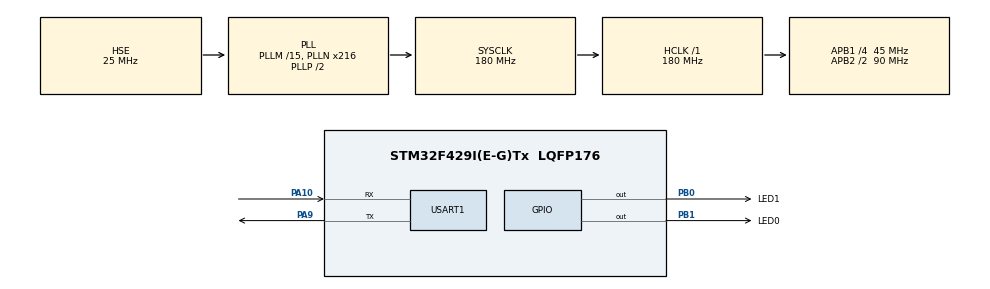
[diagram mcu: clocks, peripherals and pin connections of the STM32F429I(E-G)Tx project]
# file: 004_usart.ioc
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Mcu.Family=STM32F4
Mcu.Name=STM32F429I(E-G)Tx
Mcu.Package=LQFP176
NVIC.PriorityGroup=NVIC_PRIORITYGROUP_2
NVIC.USART1_IRQn=true\:1\:0\:true\:false\:true\:true\:true
PA10.Mode=Asynchronous
PA10.Signal=USART1_RX
PA13.Mode=Serial_Wire
PA13.Signal=SYS_JTMS-SWDIO
PA14.Mode=Serial_Wire
PA14.Signal=SYS_JTCK-SWCLK
PA9.Mode=Asynchronous
PA9.Signal=USART1_TX
PB0.GPIO_Label=LED1
PB0.PinState=GPIO_PIN_SET
PB0.Signal=GPIO_Output
PB1.GPIO_Label=LED0
PB1.PinState=GPIO_PIN_SET
PB1.Signal=GPIO_Output
PC14/OSC32_IN.Mode=LSE-External-Oscillator
PC14/OSC32_IN.Signal=RCC_OSC32_IN
PC15/OSC32_OUT.Mode=LSE-External-Oscillator
PC15/OSC32_OUT.Signal=RCC_OSC32_OUT
PH0/OSC_IN.Mode=HSE-External-Oscillator
PH0/OSC_IN.Signal=RCC_OSC_IN
PH1/OSC_OUT.Mode=HSE-External-Oscillator
PH1/OSC_OUT.Signal=RCC_OSC_OUT
ProjectManager.HeapSize=0x200
ProjectManager.StackSize=0x400
ProjectManager.TargetToolchain=MDK-ARM V5.27
RCC.48MHZClocksFreq_Value=90000000
RCC.AHBFreq_Value=180000000
RCC.APB1CLKDivider=RCC_HCLK_DIV4
RCC.APB1Freq_Value=45000000
RCC.APB1TimFreq_Value=90000000
RCC.APB2CLKDivider=RCC_HCLK_DIV2
RCC.APB2Freq_Value=90000000
RCC.APB2TimFreq_Value=180000000
RCC.CortexFreq_Value=180000000
RCC.HCLKFreq_Value=180000000
RCC.HSE_VALUE=25000000
RCC.HSI_VALUE=16000000
RCC.PLLM=15
RCC.PLLN=216
RCC.PLLSourceVirtual=RCC_PLLSOURCE_HSE
RCC.SYSCLKFreq_VALUE=180000000
RCC.SYSCLKSource=RCC_SYSCLKSOURCE_PLLCLK
RCC.VCOOutputFreq_Value=360000000
USART1.VirtualMode=VM_ASYNC
board=custom

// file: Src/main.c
/* USER CODE BEGIN Header */
/**
  ******************************************************************************
  * @file           : main.c
  * @brief          : Main program body
  ******************************************************************************
  * @attention
  *
  * <h2><center>&copy; Copyright (c) 2021 STMicroelectronics.
  * All rights reserved.</center></h2>
  *
  * This software component is licensed by ST under BSD 3-Clause license,
  * the "License"; You may not use this file except in compliance with the
  * License. You may obtain a copy of the License at:
  *                        opensource.org/licenses/BSD-3-Clause
  *
  ******************************************************************************
  */
/* USER CODE END Header */

#include "main.h"
#include "usart.h"
#include "gpio.h"

void SystemClock_Config(void);

/* USER CODE BEGIN 0 */
#define LED0_ON() HAL_GPIO_WritePin(LED0_GPIO_Port,LED0_Pin,GPIO_PIN_RESET)
#define LED0_OFF() HAL_GPIO_WritePin(LED0_GPIO_Port,LED0_Pin,GPIO_PIN_SET)
#define LED1_ON() HAL_GPIO_WritePin(LED1_GPIO_Port,LED1_Pin,GPIO_PIN_RESET)
#define LED1_OFF() HAL_GPIO_WritePin(LED1_GPIO_Port,LED1_Pin,GPIO_PIN_SET)

uint8_t Tx_str1[] = "hello world!\r\n";
uint8_t Tx_str_on[] = "LED0 Open!\r\n";
uint8_t Tx_str_off[] = "LED0 Closed!\r\n";
uint8_t Tx_str_err[] = "Not a command character!\r\n";
uint8_t Rx_dat = 0;

//void check_LED(void)
//{
//	LED0_ON();
//	HAL_Delay(500);
//	LED1_ON();
//	HAL_Delay(500);
//
//	LED0_OFF();
//	HAL_Delay(500);
//	LED1_OFF();
//	HAL_Delay(500);
//}

void HAL_UART_RxCpltCallback(UART_HandleTypeDef *huart)
{
	if(huart->Instance == huart1.Instance)
	{
		if(Rx_dat == 0xa1)
		{
			LED0_ON();

			LED1_ON();
			HAL_UART_Transmit(&huart1,Tx_str_on,sizeof(Tx_str_on),10000);
			LED1_OFF();
		}
		else if(Rx_dat == 0xa2)
		{
			LED0_OFF();

			LED1_ON();
			HAL_UART_Transmit(&huart1,Tx_str_off,sizeof(Tx_str_off),10000);
			LED1_OFF();
		}
		else
		{
//			check_LED();

			LED1_ON();
			HAL_UART_Transmit(&huart1,Tx_str_err,sizeof(Tx_str_err),10000);
			LED1_OFF();
		}
		HAL_UART_Receive_IT(&huart1,&Rx_dat,1);
	}
}

/* USER CODE END 0 */

int main(void)
{

  /* MCU Configuration--------------------------------------------------------*/

  /* Reset of all peripherals, Initializes the Flash interface and the Systick. */
  HAL_Init();

  /* Configure the system clock */
  SystemClock_Config();

  /* Initialize all configured peripherals */
  MX_GPIO_Init();
  MX_USART1_UART_Init();
  /* USER CODE BEGIN 2 */
//	check_LED();
	LED1_ON();
	HAL_UART_Transmit(&huart1,Tx_str1,sizeof(Tx_str1),10000);
	LED1_OFF();
	HAL_UART_Receive_IT(&huart1,&Rx_dat,1);

  /* USER CODE END 2 */

  /* Infinite loop */
  while (1)
  {

  }
}

void SystemClock_Config(void)
{
  RCC_OscInitTypeDef RCC_OscInitStruct = {0};
  RCC_ClkInitTypeDef RCC_ClkInitStruct = {0};

  /** Configure the main internal regulator output voltage
  */
  __HAL_RCC_PWR_CLK_ENABLE();
  __HAL_PWR_VOLTAGESCALING_CONFIG(PWR_REGULATOR_VOLTAGE_SCALE1);
  /** Initializes the CPU, AHB and APB busses clocks
  */
  RCC_OscInitStruct.OscillatorType = RCC_OSCILLATORTYPE_HSE;
  RCC_OscInitStruct.HSEState = RCC_HSE_ON;
  RCC_OscInitStruct.PLL.PLLState = RCC_PLL_ON;
  RCC_OscInitStruct.PLL.PLLSource = RCC_PLLSOURCE_HSE;
  RCC_OscInitStruct.PLL.PLLM = 15;
  RCC_OscInitStruct.PLL.PLLN = 216;
  RCC_OscInitStruct.PLL.PLLP = RCC_PLLP_DIV2;
  RCC_OscInitStruct.PLL.PLLQ = 4;
  if (HAL_RCC_OscConfig(&RCC_OscInitStruct) != HAL_OK)
  {
    Error_Handler();
  }
  /** Activate the Over-Drive mode
  */
  if (HAL_PWREx_EnableOverDrive() != HAL_OK)
  {
    Error_Handler();
  }
  /** Initializes the CPU, AHB and APB busses clocks
  */
  RCC_ClkInitStruct.ClockType = RCC_CLOCKTYPE_HCLK|RCC_CLOCKTYPE_SYSCLK
                              |RCC_CLOCKTYPE_PCLK1|RCC_CLOCKTYPE_PCLK2;
  RCC_ClkInitStruct.SYSCLKSource = RCC_SYSCLKSOURCE_PLLCLK;
  RCC_ClkInitStruct.AHBCLKDivider = RCC_SYSCLK_DIV1;
  RCC_ClkInitStruct.APB1CLKDivider = RCC_HCLK_DIV4;
  RCC_ClkInitStruct.APB2CLKDivider = RCC_HCLK_DIV2;

  if (HAL_RCC_ClockConfig(&RCC_ClkInitStruct, FLASH_LATENCY_5) != HAL_OK)
  {
    Error_Handler();
  }
}

void Error_Handler(void)
{
}

/************************ (C) COPYRIGHT STMicroelectronics *****END OF FILE****/
